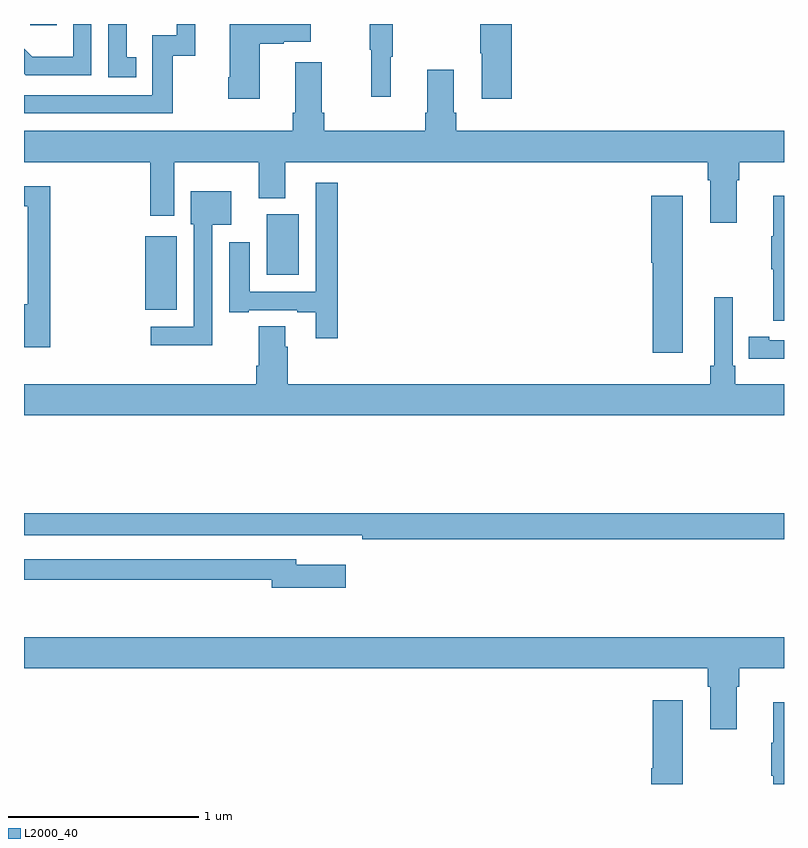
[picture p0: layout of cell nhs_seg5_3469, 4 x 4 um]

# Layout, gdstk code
import gdstk
lib = gdstk.Library(unit=1e-6, precision=1e-09)
def R(c, l, rs):  # rectangles x0, y0, x1, y1
    for r in rs: c.add(gdstk.rectangle(r[:2], r[2:], *l))
def P(c, l, *ps):  # polygons
    for p in ps: c.add(gdstk.Polygon(p, *l))
L2000_40 = (2000, 40)

nhs_seg5_3469 = lib.new_cell('nhs_seg5_3469')
R(nhs_seg5_3469, L2000_40, [(315.638,877.295,315.805,877.681), (316.277,877.478,316.447,877.798), (315.033,878.793,315.173,878.799)])
P(nhs_seg5_3469, L2000_40, [(315.784,878.631),(315.902,878.631),(315.902,878.799),(315.804,878.799),(315.804,878.739),(315.675,878.739),(315.675,878.424),(315,878.424),(315,878.328),(315.784,878.328)],
  [(316.24,878.695),(316.367,878.695),(316.367,878.705),(316.51,878.705),(316.51,878.799),(316.082,878.799),(316.082,878.518),(316.075,878.518),(316.075,878.406),(316.24,878.406)],
  [(316.931,878.627),(316.942,878.627),(316.942,878.799),(316.821,878.799),(316.821,878.664),(316.828,878.664),(316.828,878.415),(316.931,878.415)],
  [(315.59,878.625),(315.541,878.625),(315.541,878.799),(315.444,878.799),(315.444,878.52),(315.59,878.52)],
  [(315.354,878.799),(315.258,878.799),(315.258,878.626),(315.044,878.626),(315,878.67),(315,878.537),(315.008,878.529),(315.354,878.529)],
  [(317.567,878.799),(317.401,878.799),(317.401,878.644),(317.408,878.644),(317.408,878.406),(317.567,878.406)],
  [(318.751,877.976),(318.764,877.976),(318.764,878.072),(319,878.072),(319,878.236),(317.276,878.236),(317.276,878.332),(317.263,878.332),(317.263,878.557),(317.123,878.557),(317.123,878.332),(317.111,878.332),(317.111,878.236),(316.58,878.236),(316.58,878.332),(316.567,878.332),(316.567,878.599),(316.427,878.599),(316.427,878.332),(316.415,878.332),(316.415,878.236),(315,878.236),(315,878.072),(315.665,878.072),(315.665,877.791),(315.79,877.791),(315.79,878.072),(316.235,878.072),(316.235,877.883),(316.375,877.883),(316.375,878.072),(318.599,878.072),(318.599,877.976),(318.611,877.976),(318.611,877.752),(318.751,877.752)],
  [(316.652,877.963),(316.536,877.963),(316.536,877.389),(316.189,877.389),(316.189,877.651),(316.079,877.651),(316.079,877.281),(316.183,877.281),(316.183,877.293),(316.439,877.293),(316.439,877.281),(316.535,877.281),(316.535,877.146),(316.652,877.146)],
  [(315.137,877.945),(315,877.945),(315,877.839),(315.021,877.839),(315.021,877.323),(315,877.323),(315,877.098),(315.137,877.098)],
  [(315.99,877.742),(316.09,877.742),(316.09,877.918),(315.878,877.918),(315.878,877.746),(315.894,877.746),(315.894,877.206),(315.666,877.206),(315.666,877.109),(315.99,877.109)],
  [(319,877.894),(318.944,877.894),(318.944,877.681),(318.933,877.681),(318.933,877.507),(318.944,877.507),(318.944,877.236),(319,877.236)],
  [(318.466,877.894),(318.302,877.894),(318.302,877.542),(318.308,877.542),(318.308,877.068),(318.466,877.068)],
  [(316.375,877.1),(316.375,877.208),(316.235,877.208),(316.235,877),(316.223,877),(316.223,876.904),(315,876.904),(315,876.74),(319,876.74),(319,876.904),(318.743,876.904),(318.743,877),(318.729,877),(318.729,877.36),(318.632,877.36),(318.632,877),(318.613,877),(318.613,876.904),(316.388,876.904),(316.388,877.1)],
  [(319,877.134),(318.922,877.134),(318.922,877.154),(318.814,877.154),(318.814,877.038),(318.922,877.038),(318.922,877.037),(319,877.037)],
  [(319,876.224),(315,876.224),(315,876.108),(316.528,876.108),(316.528,876.107),(316.78,876.107),(316.78,876.088),(319,876.088)],
  [(316.693,875.953),(316.432,875.953),(316.432,875.982),(315,875.982),(315,875.874),(316.304,875.874),(316.304,875.831),(316.693,875.831)],
  [(318.751,875.312),(318.764,875.312),(318.764,875.408),(319,875.408),(319,875.572),(315,875.572),(315,875.408),(318.599,875.408),(318.599,875.312),(318.611,875.312),(318.611,875.088),(318.751,875.088)],
  [(318.466,875.239),(318.308,875.239),(318.308,874.881),(318.302,874.881),(318.302,874.799),(318.466,874.799)],
  [(319,875.23),(318.944,875.23),(318.944,875.017),(318.933,875.017),(318.933,874.843),(318.944,874.843),(318.944,874.799),(319,874.799)])

lib.write_gds('nhs_seg5_3469.gds')
